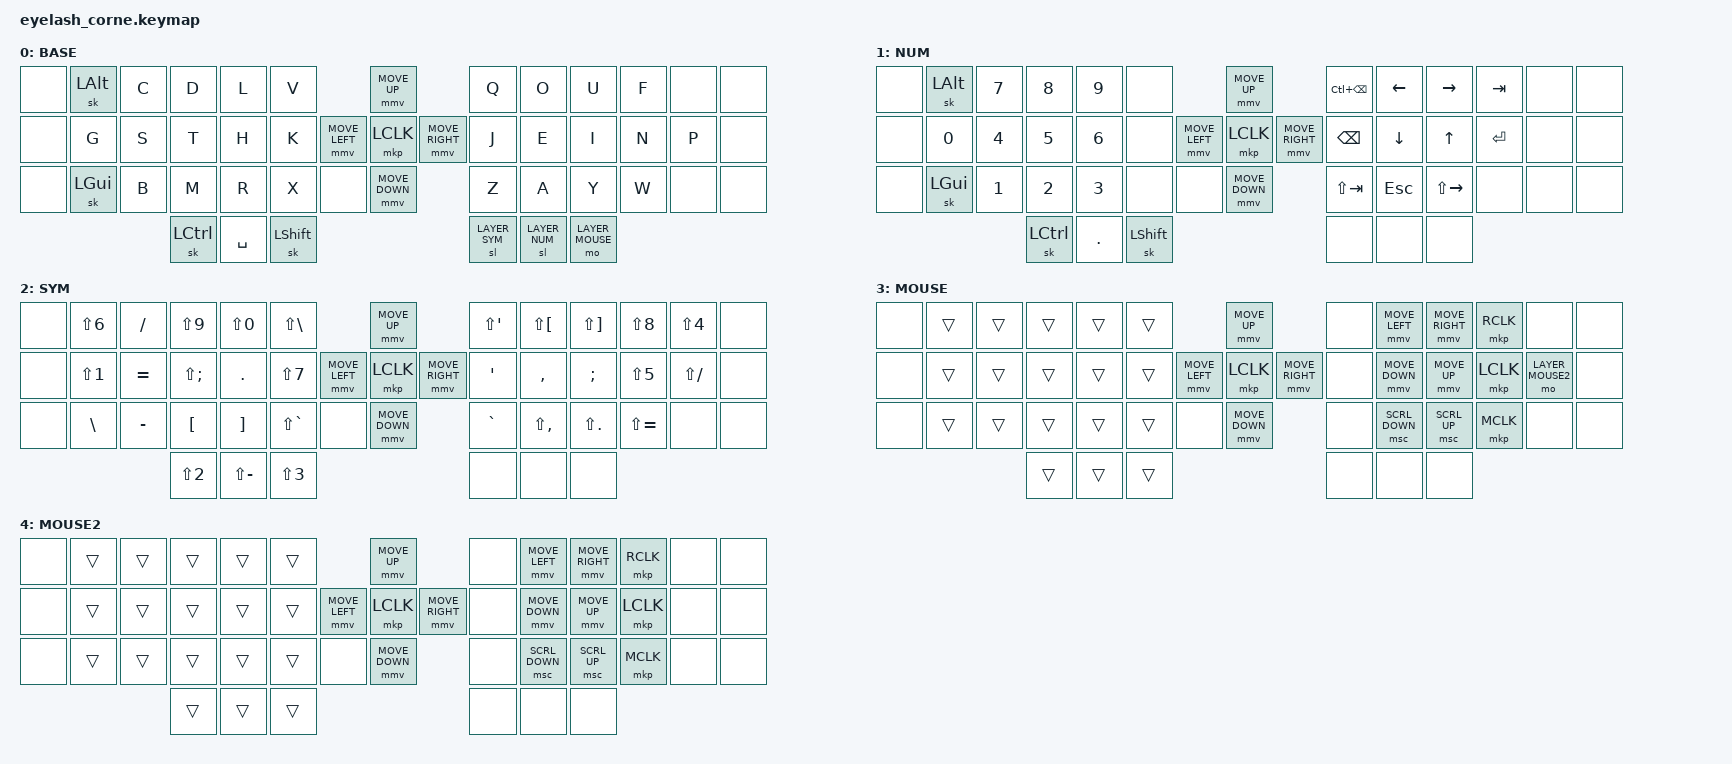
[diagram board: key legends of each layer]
#define ZMK_POINTING_DEFAULT_MOVE_VAL 800   // 600
#define ZMK_POINTING_DEFAULT_SCRL_VAL 200   // 10

#include <input/processors.dtsi>
#include <zephyr/dt-bindings/input/input-event-codes.h>
#include <behaviors.dtsi>
#include <dt-bindings/zmk/bt.h>
#include <dt-bindings/zmk/keys.h>
#include <dt-bindings/zmk/outputs.h>
#include <dt-bindings/zmk/pointing.h>
#include <dt-bindings/zmk/rgb.h>

#define LAYER_BASE 0
#define LAYER_NUM 1
#define LAYER_SYM 2
#define LAYER_MOUSE 3
#define LAYER_MOUSE2 4

&mmv_input_listener {
    boost {
        layers = <LAYER_MOUSE2>;
        input-processors = <&zip_xy_scaler 5 1>;
    };
};

&msc_input_listener {
    boost {
        layers = <LAYER_MOUSE2>;
        input-processors = <&zip_scroll_scaler 5 1>;
    };
};

&msc {
    acceleration-exponent = <1>;
    time-to-max-speed-ms = <100>;
    trigger-period-ms = <8>;
};

&mmv {
    acceleration-exponent = <1>;
    time-to-max-speed-ms = <100>;
    trigger-period-ms = <8>;
};

&sk {
    quick-release;
    release-after-ms = <200>;
};

&sl {
    release-after-ms = <200>;
};

/ {
    behaviors {
        td0: td0 {
            compatible = "zmk,behavior-tap-dance";
            display-name = "Shift/Caps Lock Tap Dance";
            #binding-cells = <0>;
            bindings = <&kp LEFT_SHIFT>, <&kp CAPS>;
        };
    };

    keymap {
        compatible = "zmk,keymap";

        base_layer {
            display-name = "BASE";
            bindings = <
&none  &sk LALT  &kp C  &kp D      &kp L      &kp V                     &mmv MOVE_UP                &kp Q          &kp O          &kp U  &kp F  &none  &none
&none  &kp G     &kp S  &kp T      &kp H      &kp K      &mmv MOVE_LEFT &mkp LCLK  &mmv MOVE_RIGHT  &kp J          &kp E          &kp I  &kp N  &kp P  &none
&none  &sk LGUI  &kp B  &kp M      &kp R      &kp X      &none          &mmv MOVE_DOWN              &kp Z          &kp A          &kp Y  &kp W  &none  &none
                        &sk LCTRL  &kp SPACE  &sk LSHFT                                             &sl LAYER_SYM  &sl LAYER_NUM  &mo LAYER_MOUSE
            >;
        };

        num_layer {
            display-name = "NUM";
            bindings = <
&none  &sk LALT  &kp N7     &kp N8   &kp N9     &none                  &mmv MOVE_UP                     &kp LC(BSPC)  &kp LEFT  &kp RIGHT      &kp TAB  &none  &none
&none  &kp N0    &kp N4     &kp N5   &kp N6     &none  &mmv MOVE_LEFT  &mkp LCLK       &mmv MOVE_RIGHT  &kp BSPC      &kp DOWN  &kp UP         &kp RET  &none  &none
&none  &sk LGUI  &kp N1     &kp N2   &kp N3     &none  &none           &mmv MOVE_DOWN                   &kp LS(TAB)   &kp ESC   &kp LS(RIGHT)  &none    &none  &none
                 &sk LCTRL  &kp DOT  &sk LSHFT                                                          &none         &none     &none
            >;
        };

        sym_layer {
            display-name = "SYM";
            bindings = <
&none  &kp LS(N6)  &kp FSLH   &kp LS(N9)    &kp LS(N0)     &kp LS(BSLH)                   &mmv MOVE_UP                     &kp LS(SINGLE_QUOTE)  &kp LS(LBKT)   &kp LS(RBKT)  &kp LS(N8)     &kp LS(N4)    &none
&none  &kp LS(N1)  &kp EQUAL  &kp LS(SEMI)  &kp DOT        &kp LS(N7)     &mmv MOVE_LEFT  &mkp LCLK       &mmv MOVE_RIGHT  &kp SQT               &kp COMMA      &kp SEMI      &kp LS(N5)     &kp LS(FSLH)  &none
&none  &kp BSLH    &kp MINUS  &kp LBKT      &kp RBKT       &kp LS(GRAVE)  &none           &mmv MOVE_DOWN                   &kp GRAVE             &kp LS(COMMA)  &kp LS(DOT)   &kp LS(EQUAL)  &none         &none
                              &kp LS(N2)    &kp LS(MINUS)  &kp LS(N3)                                                      &none                 &none          &none
            >;
        };

        mouse_layer {
            display-name = "MOUSE";
            bindings = <
&none  &trans  &trans  &trans  &trans  &trans                 &mmv MOVE_UP                &none  &mmv MOVE_LEFT  &mmv MOVE_RIGHT  &mkp RCLK  &none             &none
&none  &trans  &trans  &trans  &trans  &trans  &mmv MOVE_LEFT &mkp LCLK  &mmv MOVE_RIGHT  &none  &mmv MOVE_DOWN  &mmv MOVE_UP     &mkp LCLK  &mo LAYER_MOUSE2  &none
&none  &trans  &trans  &trans  &trans  &trans  &none          &mmv MOVE_DOWN              &none  &msc SCRL_DOWN  &msc SCRL_UP     &mkp MCLK  &none             &none
                       &trans  &trans  &trans                                             &none  &none           &none
            >;
        };

        mouse2_layer {
            display-name = "MOUSE2";
            bindings = <
&none  &trans  &trans  &trans  &trans  &trans                 &mmv MOVE_UP                &none  &mmv MOVE_LEFT  &mmv MOVE_RIGHT  &mkp RCLK  &none  &none
&none  &trans  &trans  &trans  &trans  &trans  &mmv MOVE_LEFT &mkp LCLK  &mmv MOVE_RIGHT  &none  &mmv MOVE_DOWN  &mmv MOVE_UP     &mkp LCLK  &none  &none
&none  &trans  &trans  &trans  &trans  &trans  &none          &mmv MOVE_DOWN              &none  &msc SCRL_DOWN  &msc SCRL_UP     &mkp MCLK  &none  &none
                       &trans  &trans  &trans                                             &none  &none           &none
            >;
        };
    };
};
